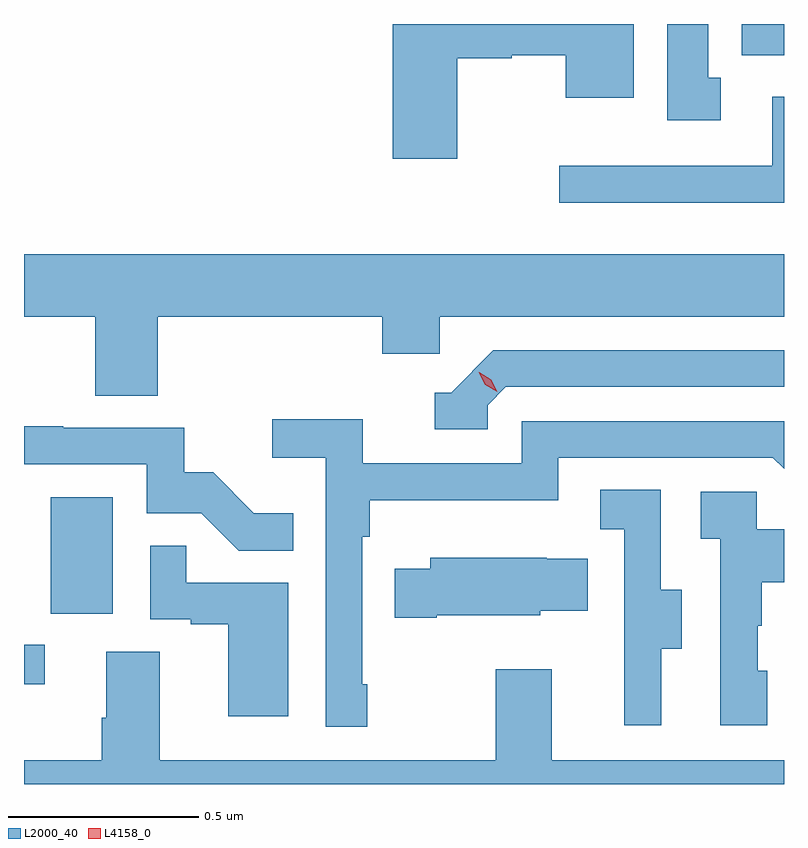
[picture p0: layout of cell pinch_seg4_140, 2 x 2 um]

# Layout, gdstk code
import gdstk
lib = gdstk.Library(unit=1e-6, precision=1e-09)
def R(c, l, rs):  # rectangles x0, y0, x1, y1
    for r in rs: c.add(gdstk.rectangle(r[:2], r[2:], *l))
def P(c, l, *ps):  # polygons
    for p in ps: c.add(gdstk.Polygon(p, *l))
L2000_40 = (2000, 40)
L4158_0 = (4158, 0)

pinch_seg4_140 = lib.new_cell('pinch_seg4_140')
R(pinch_seg4_140, L2000_40, [(1029.496,803.844,1029.55,803.949), (1029.566,804.03,1029.73,804.337), (1031.385,805.5,1031.496,805.582)])
P(pinch_seg4_140, L2000_40, [(1030.636,805.492),(1030.779,805.492),(1030.779,805.5),(1030.922,805.5),(1030.922,805.388),(1031.101,805.388),(1031.101,805.582),(1030.466,805.582),(1030.466,805.227),(1030.636,805.227)],
  [(1031.329,805.441),(1031.296,805.441),(1031.296,805.582),(1031.189,805.582),(1031.189,805.329),(1031.329,805.329)],
  [(1031.496,805.39),(1031.465,805.39),(1031.465,805.209),(1030.905,805.209),(1030.905,805.112),(1031.496,805.112)],
  [(1029.848,804.812),(1030.439,804.812),(1030.439,804.714),(1030.59,804.714),(1030.59,804.812),(1031.496,804.812),(1031.496,804.976),(1029.496,804.976),(1029.496,804.812),(1029.683,804.812),(1029.683,804.604),(1029.848,804.604)],
  [(1030.716,804.579),(1030.764,804.627),(1031.496,804.627),(1031.496,804.723),(1030.731,804.723),(1030.62,804.612),(1030.577,804.612),(1030.577,804.516),(1030.716,804.516)],
  [(1030.399,803.845),(1030.386,803.845),(1030.386,804.233),(1030.406,804.233),(1030.406,804.329),(1030.902,804.329),(1030.902,804.441),(1031.466,804.441),(1031.496,804.411),(1031.496,804.537),(1030.806,804.537),(1030.806,804.426),(1030.388,804.426),(1030.388,804.542),(1030.149,804.542),(1030.149,804.44),(1030.29,804.44),(1030.29,803.733),(1030.399,803.733)],
  [(1030.205,804.295),(1030.101,804.295),(1029.994,804.402),(1029.918,804.402),(1029.918,804.519),(1029.599,804.519),(1029.599,804.524),(1029.496,804.524),(1029.496,804.423),(1029.819,804.423),(1029.819,804.294),(1029.963,804.294),(1030.061,804.196),(1030.205,804.196)],
  [(1031.173,803.938),(1031.227,803.938),(1031.227,804.093),(1031.172,804.093),(1031.172,804.356),(1031.013,804.356),(1031.013,804.253),(1031.076,804.253),(1031.076,803.949),(1031.075,803.949),(1031.075,803.736),(1031.173,803.736)],
  [(1031.452,803.88),(1031.427,803.88),(1031.427,803.999),(1031.437,803.999),(1031.437,804.113),(1031.496,804.113),(1031.496,804.253),(1031.424,804.253),(1031.424,804.351),(1031.277,804.351),(1031.277,804.227),(1031.328,804.227),(1031.328,803.736),(1031.452,803.736)],
  [(1030.192,804.111),(1029.923,804.111),(1029.923,804.209),(1029.828,804.209),(1029.828,804.015),(1029.935,804.015),(1029.935,804.003),(1030.034,804.003),(1030.034,803.76),(1030.192,803.76)],
  [(1030.582,804.026),(1030.854,804.026),(1030.854,804.038),(1030.979,804.038),(1030.979,804.175),(1030.871,804.175),(1030.871,804.178),(1030.565,804.178),(1030.565,804.148),(1030.471,804.148),(1030.471,804.019),(1030.582,804.019)],
  [(1031.496,803.644),(1030.885,803.644),(1030.885,803.884),(1030.738,803.884),(1030.738,803.644),(1029.853,803.644),(1029.853,803.93),(1029.713,803.93),(1029.713,803.756),(1029.701,803.756),(1029.701,803.644),(1029.496,803.644),(1029.496,803.582),(1031.496,803.582)])
P(pinch_seg4_140, L4158_0, [(1030.741,804.614),(1030.71,804.633),(1030.693,804.665),(1030.693,804.666),(1030.694,804.666),(1030.725,804.646),(1030.741,804.614),(1030.741,804.614)])

lib.write_gds('pinch_seg4_140.gds')
